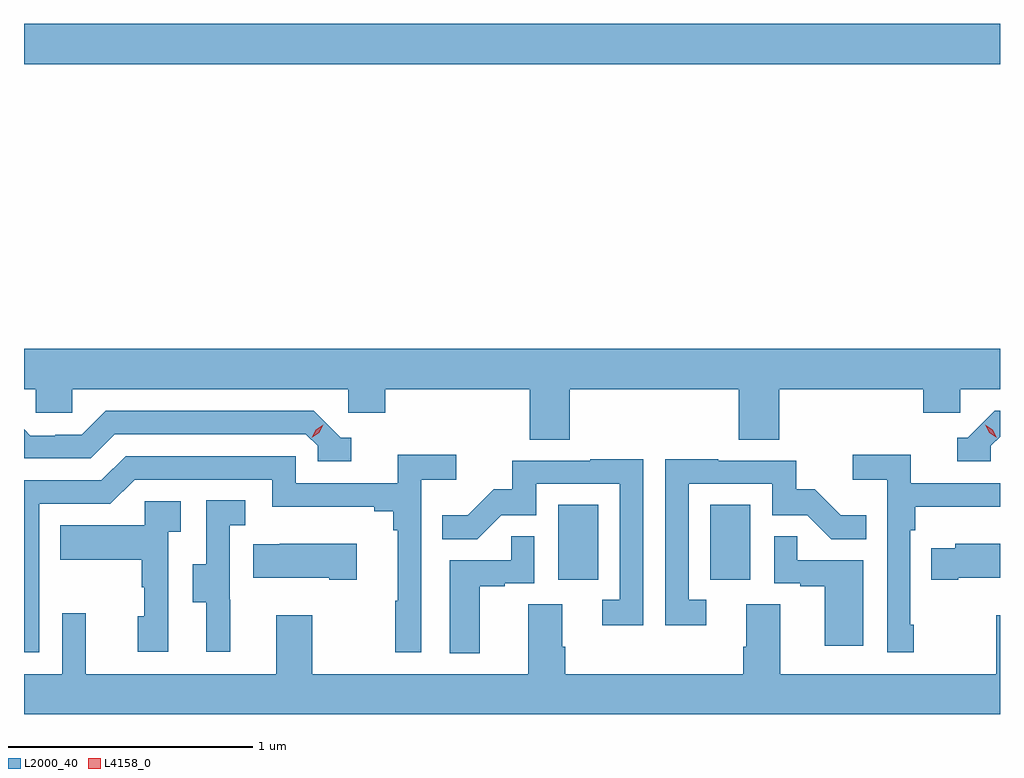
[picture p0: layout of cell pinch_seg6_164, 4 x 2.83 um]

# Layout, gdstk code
import gdstk
lib = gdstk.Library(unit=1e-6, precision=1e-09)
def R(c, l, rs):  # rectangles x0, y0, x1, y1
    for r in rs: c.add(gdstk.rectangle(r[:2], r[2:], *l))
def P(c, l, *ps):  # polygons
    for p in ps: c.add(gdstk.Polygon(p, *l))
L2000_40 = (2000, 40)
L4158_0 = (4158, 0)

pinch_seg6_164 = lib.new_cell('pinch_seg6_164')
R(pinch_seg6_164, L2000_40, [(1046.036,937.23,1046.2,937.537), (1046.66,937.23,1046.824,937.537), (1043.847,939.344,1047.847,939.508)])
P(pinch_seg6_164, L2000_40, [(1046.084,938.012),(1046.777,938.012),(1046.777,937.804),(1046.942,937.804),(1046.942,938.012),(1047.533,938.012),(1047.533,937.914),(1047.684,937.914),(1047.684,938.012),(1047.847,938.012),(1047.847,938.176),(1043.847,938.176),(1043.847,938.012),(1043.895,938.012),(1043.895,937.914),(1044.045,937.914),(1044.045,938.012),(1045.176,938.012),(1045.176,937.914),(1045.328,937.914),(1045.328,938.012),(1045.919,938.012),(1045.919,937.804),(1046.084,937.804)],
  [(1047.81,937.779),(1047.847,937.816),(1047.847,937.923),(1047.825,937.923),(1047.714,937.812),(1047.671,937.812),(1047.671,937.716),(1047.81,937.716)],
  [(1045.189,937.812),(1045.146,937.812),(1045.035,937.923),(1044.182,937.923),(1044.083,937.824),(1043.976,937.824),(1043.976,937.821),(1043.873,937.821),(1043.847,937.848),(1043.847,937.728),(1044.12,937.728),(1044.219,937.827),(1045.002,937.827),(1045.05,937.779),(1045.05,937.716),(1045.189,937.716)],
  [(1043.91,937.542),(1044.201,937.542),(1044.3,937.641),(1044.864,937.641),(1044.864,937.529),(1045.283,937.529),(1045.283,937.51),(1045.36,937.51),(1045.36,937.433),(1045.379,937.433),(1045.379,937.145),(1045.368,937.145),(1045.368,936.933),(1045.476,936.933),(1045.476,937.64),(1045.618,937.64),(1045.618,937.742),(1045.379,937.742),(1045.379,937.626),(1044.96,937.626),(1044.96,937.737),(1044.263,937.737),(1044.164,937.638),(1043.847,937.638),(1043.847,936.933),(1043.91,936.933)],
  [(1047.493,937.045),(1047.48,937.045),(1047.48,937.433),(1047.5,937.433),(1047.5,937.529),(1047.847,937.529),(1047.847,937.626),(1047.482,937.626),(1047.482,937.742),(1047.243,937.742),(1047.243,937.64),(1047.384,937.64),(1047.384,936.933),(1047.493,936.933)],
  [(1046.385,937.724),(1046.167,937.724),(1046.167,937.719),(1045.849,937.719),(1045.849,937.602),(1045.772,937.602),(1045.665,937.495),(1045.561,937.495),(1045.561,937.396),(1045.704,937.396),(1045.802,937.494),(1045.947,937.494),(1045.947,937.623),(1046.289,937.623),(1046.289,937.149),(1046.217,937.149),(1046.217,937.044),(1046.385,937.044)],
  [(1046.644,937.149),(1046.571,937.149),(1046.571,937.623),(1046.913,937.623),(1046.913,937.494),(1047.057,937.494),(1047.155,937.396),(1047.299,937.396),(1047.299,937.495),(1047.195,937.495),(1047.088,937.602),(1047.012,937.602),(1047.012,937.719),(1046.693,937.719),(1046.693,937.724),(1046.475,937.724),(1046.475,937.044),(1046.644,937.044)],
  [(1044.692,937.149),(1044.69,937.149),(1044.69,937.453),(1044.754,937.453),(1044.754,937.556),(1044.594,937.556),(1044.594,937.293),(1044.539,937.293),(1044.539,937.138),(1044.593,937.138),(1044.593,936.936),(1044.692,936.936)],
  [(1044.438,937.427),(1044.49,937.427),(1044.49,937.551),(1044.342,937.551),(1044.342,937.453),(1043.995,937.453),(1043.995,937.313),(1044.33,937.313),(1044.33,937.199),(1044.34,937.199),(1044.34,937.08),(1044.314,937.08),(1044.314,936.936),(1044.438,936.936)],
  [(1045.714,937.203),(1045.817,937.203),(1045.817,937.215),(1045.938,937.215),(1045.938,937.409),(1045.843,937.409),(1045.843,937.311),(1045.592,937.311),(1045.592,936.929),(1045.714,936.929)],
  [(1047.286,937.311),(1047.017,937.311),(1047.017,937.409),(1046.922,937.409),(1046.922,937.215),(1047.029,937.215),(1047.029,937.203),(1047.128,937.203),(1047.128,936.96),(1047.286,936.96)],
  [(1045.21,937.378),(1044.895,937.378),(1044.895,937.375),(1044.787,937.375),(1044.787,937.238),(1045.097,937.238),(1045.097,937.231),(1045.21,937.231)],
  [(1047.676,937.238),(1047.847,937.238),(1047.847,937.378),(1047.663,937.378),(1047.663,937.36),(1047.565,937.36),(1047.565,937.231),(1047.676,937.231)],
  [(1047.847,937.084),(1047.832,937.084),(1047.832,936.844),(1046.947,936.844),(1046.947,937.13),(1046.807,937.13),(1046.807,936.956),(1046.795,936.956),(1046.795,936.844),(1046.066,936.844),(1046.066,936.956),(1046.053,936.956),(1046.053,937.13),(1045.913,937.13),(1045.913,936.844),(1045.029,936.844),(1045.029,937.084),(1044.881,937.084),(1044.881,936.844),(1044.101,936.844),(1044.101,937.093),(1044.003,937.093),(1044.003,936.844),(1043.847,936.844),(1043.847,936.68),(1047.847,936.68)])
P(pinch_seg6_164, L4158_0, [(1045.026,937.813),(1045.026,937.813),(1045.042,937.846),(1045.073,937.866),(1045.073,937.866),(1045.073,937.865),(1045.057,937.833),(1045.026,937.813)],
  [(1047.834,937.813),(1047.803,937.832),(1047.787,937.865),(1047.787,937.865),(1047.787,937.865),(1047.818,937.846),(1047.834,937.813),(1047.834,937.813)])

lib.write_gds('pinch_seg6_164.gds')
